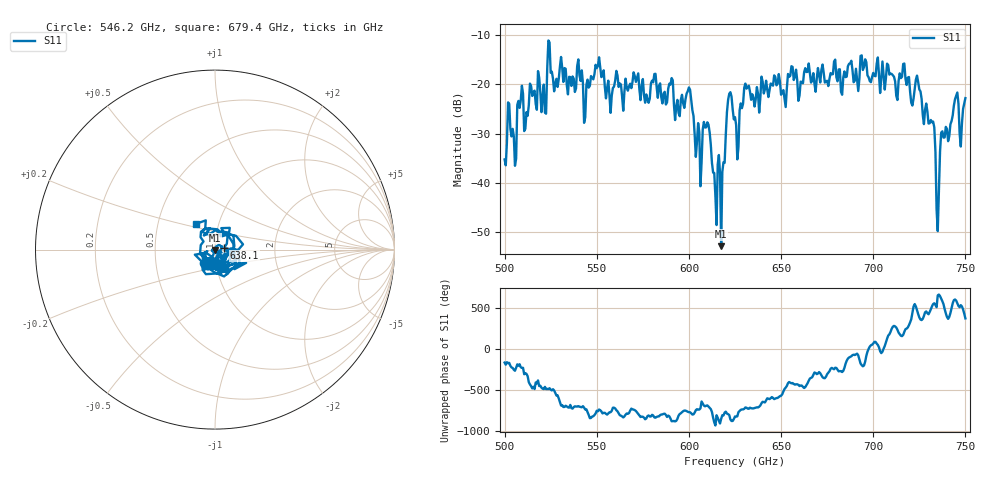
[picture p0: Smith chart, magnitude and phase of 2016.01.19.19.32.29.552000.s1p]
!Created with skrf (http://scikit-rf.org).
# GHz S RI R 50.0
!freq ReS11 ImS11
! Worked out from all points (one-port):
!   401 points, 500 GHz to 750 GHz, reference 50 ohm
!   lowest |S11| = -52.9 dB at 617.5 GHz (marker M1), VSWR 1.00, Z = 49.8 - j0.156 ohm
!   |S11| at or under -10 dB: start of sweep to end of sweep
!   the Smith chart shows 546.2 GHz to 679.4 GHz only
!   S11 on the Smith chart (normalised r, x): 546.2 GHz: 0.88, -0.13; 638.1 GHz: 1.11, +0.02; 679.4 GHz: 0.78, +0.23
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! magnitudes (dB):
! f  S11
! 500 GHz  -35.3
! 508.8 GHz  -23.3
! 511.9 GHz  -25.6
! 515 GHz  -22.4
! 521.2 GHz  -20.1
! 524.4 GHz  -11.5
! 531.2 GHz  -16.6
! 546.2 GHz  -20.3
! 562.5 GHz  -19.8
! 590 GHz  -20.1
! 593.8 GHz  -23.2
! 600 GHz  -20.6
! 605 GHz  -27.9
! 609.4 GHz  -28.7
! 613.8 GHz  -38.0
! 617.5 GHz  -52.9
! 621.9 GHz  -21.9
! 625 GHz  -26.7
! 631.2 GHz  -20.9
! 638.1 GHz  -25.7
! 656.2 GHz  -16.5
! 679.4 GHz  -15.0
! 687.5 GHz  -15.7
! 718.8 GHz  -18.6
! 731.9 GHz  -27.7
! 735 GHz  -49.8
! 738.1 GHz  -30.8
! 750 GHz  -22.8
